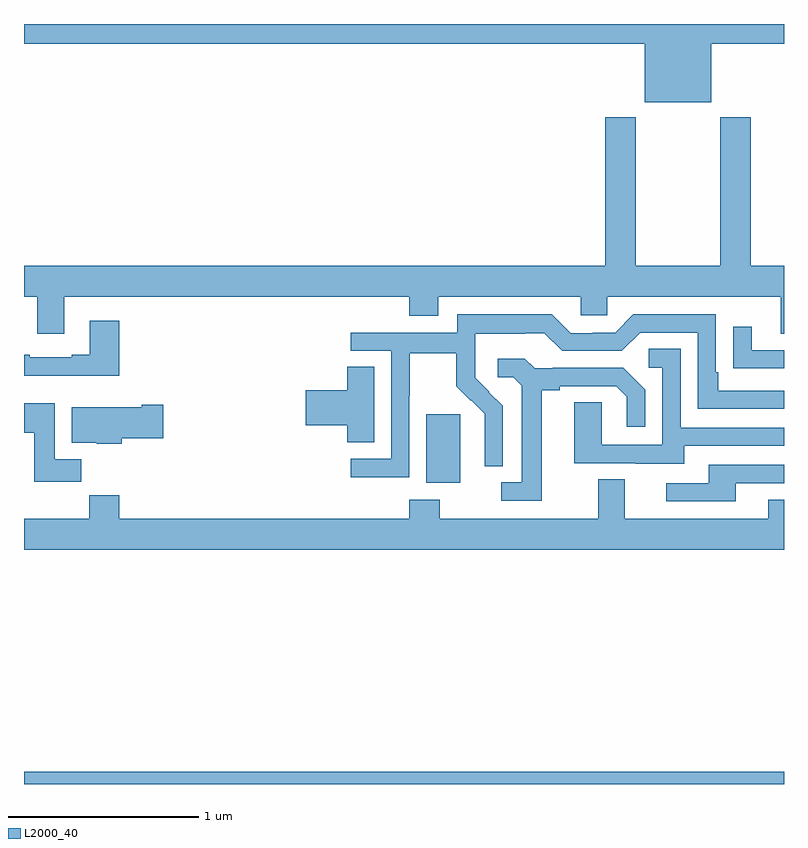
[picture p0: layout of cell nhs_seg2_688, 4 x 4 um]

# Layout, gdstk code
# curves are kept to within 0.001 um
import gdstk
lib = gdstk.Library(unit=1e-6, precision=1e-09)
def R(c, l, rs):  # rectangles x0, y0, x1, y1
    for r in rs: c.add(gdstk.rectangle(r[:2], r[2:], *l))
def P(c, l, *ps):  # polygons
    for p in ps: c.add(gdstk.Polygon(p, *l))
L2000_40 = (2000, 40)

nhs_seg2_688 = lib.new_cell('nhs_seg2_688')
R(nhs_seg2_688, L2000_40, [(147,583.8,151,583.864), (149.117,585.386,149.296,585.747)])
P(nhs_seg2_688, L2000_40, [(150.616,587.696),(151,587.696),(151,587.8),(147,587.8),(147,587.696),(150.266,587.696),(150.266,587.387),(150.616,587.387)],
  [(147.211,586.364),(149.027,586.364),(149.027,586.265),(149.179,586.265),(149.179,586.364),(149.931,586.364),(149.931,586.266),(150.069,586.266),(150.069,586.364),(150.983,586.364),(150.983,586.17),(151,586.17),(151,586.528),(150.824,586.528),(150.824,587.308),(150.664,587.308),(150.664,586.528),(150.219,586.528),(150.219,587.308),(150.059,587.308),(150.059,586.528),(147,586.528),(147,586.364),(147.071,586.364),(147.071,586.17),(147.211,586.17)],
  [(149.028,585.844),(149.031,585.844),(149.031,586.068),(149.275,586.068),(149.275,585.893),(149.352,585.816),(149.355,585.819),(149.426,585.749),(149.426,585.626),(149.424,585.626),(149.424,585.472),(149.52,585.472),(149.52,585.79),(149.374,585.938),(149.374,586.035),(149.376,586.035),(149.376,586.169),(149.639,586.169),(149.639,586.173),(149.739,586.173),(149.832,586.08),(150.147,586.08),(150.243,586.176),(150.546,586.176),(150.546,585.774),(151,585.774),(151,585.87),(150.655,585.87),(150.655,585.967),(150.642,585.967),(150.642,586.272),(150.207,586.272),(150.111,586.176),(149.993,586.176),(149.993,586.173),(149.877,586.173),(149.777,586.273),(149.28,586.273),(149.28,586.176),(148.719,586.176),(148.719,586.08),(148.932,586.08),(148.932,585.513),(148.719,585.513),(148.719,585.415),(149.028,585.415)],
  [(147.5,586.237),(147.347,586.237),(147.347,586.06),(147.251,586.06),(147.251,586.047),(147.031,586.047),(147.031,586.06),(147,586.06),(147,585.95),(147.5,585.95)],
  [(151,586.083),(150.829,586.083),(150.829,586.207),(150.733,586.207),(150.733,585.988),(150.835,585.988),(150.835,585.987),(151,585.987)],
  [(150.475,585.579),(151,585.579),(151,585.675),(150.456,585.675),(150.456,586.091),(150.288,586.091),(150.288,585.99),(150.36,585.99),(150.36,585.585),(150.042,585.585),(150.042,585.809),(149.897,585.809),(149.897,585.489),(150.221,585.489),(150.221,585.485),(150.475,585.485)],
  [(149.725,585.872),(149.821,585.872),(149.821,585.894),(150.116,585.894),(150.173,585.837),(150.173,585.681),(150.27,585.681),(150.27,585.874),(150.154,585.99),(149.782,585.99),(149.782,585.987),(149.688,585.987),(149.636,586.039),(149.493,586.039),(149.493,585.942),(149.574,585.942),(149.621,585.895),(149.621,585.387),(149.511,585.387),(149.511,585.291),(149.725,585.291)],
  [(148.843,585.995),(148.7,585.995),(148.7,585.872),(148.482,585.872),(148.482,585.689),(148.7,585.689),(148.7,585.598),(148.843,585.598)],
  [(147.302,585.508),(147.163,585.508),(147.163,585.805),(147,585.805),(147,585.649),(147.053,585.649),(147.053,585.39),(147.302,585.39)],
  [(147.515,585.619),(147.733,585.619),(147.733,585.797),(147.62,585.797),(147.62,585.784),(147.251,585.784),(147.251,585.596),(147.384,585.596),(147.384,585.59),(147.515,585.59)],
  [(150.745,585.384),(151,585.384),(151,585.48),(150.605,585.48),(150.605,585.384),(150.381,585.384),(150.381,585.288),(150.745,585.288)],
  [(147.343,585.32),(147.343,585.196),(147,585.196),(147,585.032),(151,585.032),(151,585.295),(150.917,585.295),(150.917,585.196),(150.163,585.196),(150.163,585.404),(150.023,585.404),(150.023,585.196),(149.187,585.196),(149.187,585.295),(149.027,585.295),(149.027,585.196),(147.5,585.196),(147.5,585.32)])

lib.write_gds('nhs_seg2_688.gds')
